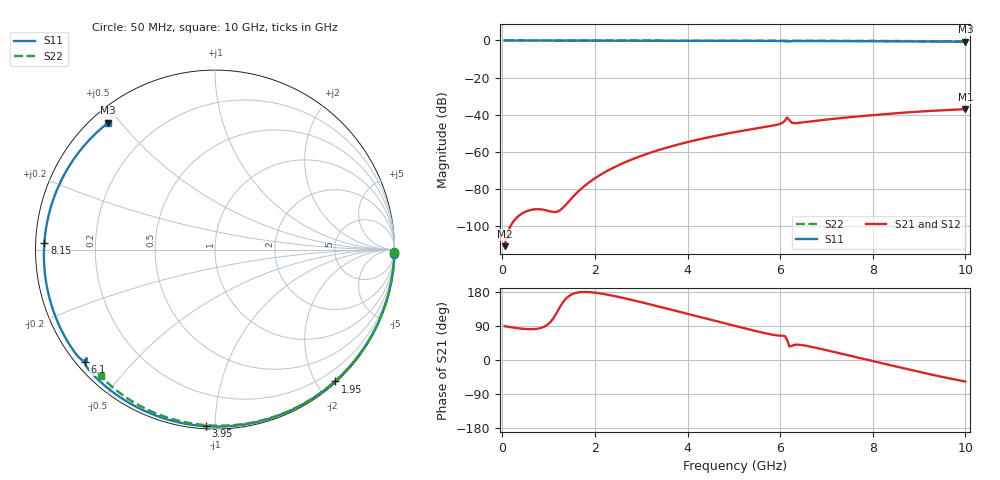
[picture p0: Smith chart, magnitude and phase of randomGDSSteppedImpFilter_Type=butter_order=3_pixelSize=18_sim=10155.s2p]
! freq	dB(S11)	phase(S11)	dB(S12)	phase(S12)
!  dB(S21)	phase(S21)	dB(S22)	phase(S22)
!S-par simulation data
#  GHz  S  DB  R 50
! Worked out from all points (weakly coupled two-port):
!   200 points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, 50 MHz to 10 GHz, reference 50 ohm
!   highest |S21| = -36.98 dB at 10 GHz (marker M1); lowest = -110.8 dB at 50 MHz (marker M2)
!   lowest |S11| = -0.7 dB at 10 GHz (marker M3), VSWR 25.35, Z = 2.4 + j23.2 ohm
!   |S11| at or under -10 dB: nowhere
!   |S22| runs from -0.4 to 0.0 dB; largest |S21 - S12| = 0
!   S11 on the Smith chart (normalised r, x): 50 MHz: 0, -91; 1.95 GHz: 0.02, -2.26; 3.95 GHz: 0.01, -0.95; 6.1 GHz: 0.02, -0.37; 8.15 GHz: 0.02, +0.02; 10 GHz: 0.05, +0.46
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0.05  -0.00 -1.3  -110.77 89.2  -110.77 89.2  -0.00 -0.8
0.85  -0.03 -21.1  -91.00 85.2  -91.00 85.2  -0.02 -12.9
1.7  -0.05 -41.8  -79.95 179.2  -79.95 179.2  -0.03 -25.6
1.75  -0.05 -42.9  -78.88 179.6  -78.88 179.6  -0.03 -26.4
1.95  -0.06 -47.7  -75.07 178.4  -75.07 178.4  -0.04 -29.3
2.25  -0.07 -54.7  -70.45 172.9  -70.45 172.9  -0.04 -33.7
2.6  -0.08 -62.9  -66.15 164.0  -66.15 164.0  -0.05 -38.8
3.4  -0.11 -80.9  -58.83 140.4  -58.83 140.4  -0.07 -50.2
3.95  -0.13 -92.9  -55.04 123.3  -55.04 123.3  -0.08 -57.8
5.05  -0.18 -116.3  -49.24 89.0  -49.24 89.0  -0.11 -72.6
5.9  -0.24 -134.3  -45.57 65.5  -45.57 65.5  -0.14 -83.6
6.05  -0.28 -137.8  -44.35 64.0  -44.35 64.0  -0.15 -85.5
6.1  -0.35 -139.2  -43.29 63.2  -43.29 63.2  -0.15 -86.1
6.15  -0.57 -139.8  -41.52 52.9  -41.52 52.9  -0.15 -86.7
6.25  -0.33 -140.2  -44.27 37.4  -44.27 37.4  -0.16 -88.0
6.3  -0.29 -141.5  -44.53 39.6  -44.53 39.6  -0.16 -88.6
6.7  -0.29 -150.4  -43.47 34.2  -43.47 34.2  -0.18 -93.6
7.45  -0.36 -166.6  -41.45 12.9  -41.45 12.9  -0.22 -102.7
8.15  -0.43 177.7  -39.90 -7.2  -39.90 -7.2  -0.27 -110.9
8.35  -0.45 173.0  -39.49 -12.9  -39.49 -12.9  -0.29 -113.3
9.2  -0.56 152.1  -38.01 -36.7  -38.01 -36.7  -0.36 -123.1
10  -0.69 130.1  -36.98 -56.8  -36.98 -56.8  -0.44 -132.1
